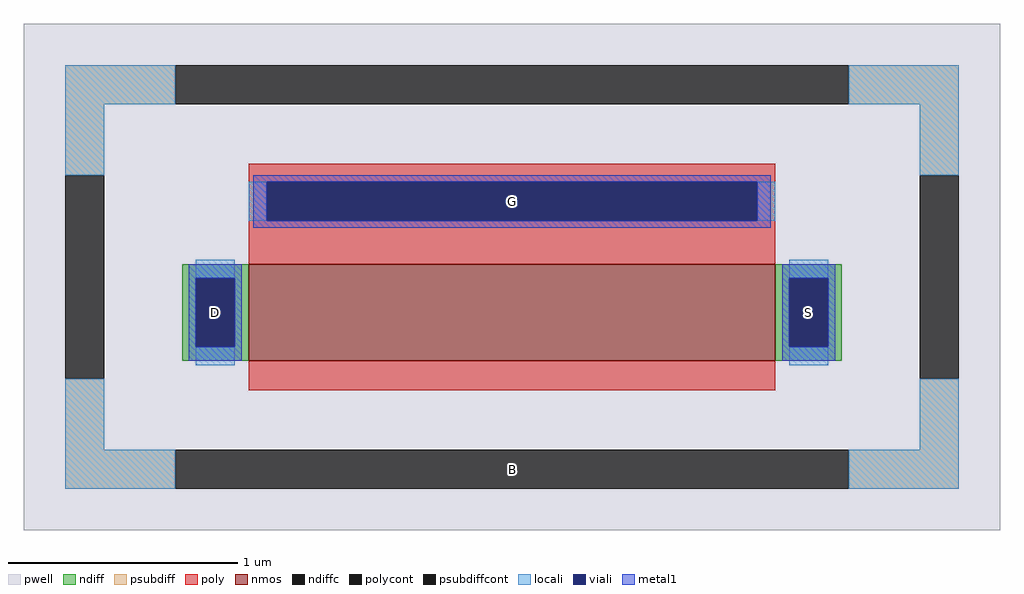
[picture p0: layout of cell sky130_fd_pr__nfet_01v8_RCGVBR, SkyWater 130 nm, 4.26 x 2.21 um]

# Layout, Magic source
magic
tech sky130A
magscale 1 2
<< pwell >>
rect -426 -221 426 221
<< nmos >>
rect -230 -73 230 11
<< ndiff >>
rect -288 -1 -230 11
rect -288 -61 -276 -1
rect -242 -61 -230 -1
rect -288 -73 -230 -61
rect 230 -1 288 11
rect 230 -61 242 -1
rect 276 -61 288 -1
rect 230 -73 288 -61
<< ndiffc >>
rect -276 -61 -242 -1
rect 242 -61 276 -1
<< psubdiff >>
rect -390 151 -294 185
rect 294 151 390 185
rect -390 89 -356 151
rect 356 89 390 151
rect -390 -151 -356 -89
rect 356 -151 390 -89
rect -390 -185 -294 -151
rect 294 -185 390 -151
<< psubdiffcont >>
rect -294 151 294 185
rect -390 -89 -356 89
rect 356 -89 390 89
rect -294 -185 294 -151
<< poly >>
rect -230 83 230 99
rect -230 49 -214 83
rect 214 49 230 83
rect -230 11 230 49
rect -230 -99 230 -73
<< polycont >>
rect -214 49 214 83
<< locali >>
rect -390 151 -294 185
rect 294 151 390 185
rect -390 89 -356 151
rect 356 89 390 151
rect -230 49 -214 83
rect 214 49 230 83
rect -276 -1 -242 15
rect -276 -77 -242 -61
rect 242 -1 276 15
rect 242 -77 276 -61
rect -390 -151 -356 -89
rect 356 -151 390 -89
rect -390 -185 -294 -151
rect 294 -185 390 -151
<< viali >>
rect -214 49 214 83
rect -276 -61 -242 -1
rect 242 -61 276 -1
<< metal1 >>
rect -226 83 226 89
rect -226 49 -214 83
rect 214 49 226 83
rect -226 43 226 49
rect -282 -1 -236 11
rect -282 -61 -276 -1
rect -242 -61 -236 -1
rect -282 -73 -236 -61
rect 236 -1 282 11
rect 236 -61 242 -1
rect 276 -61 282 -1
rect 236 -73 282 -61
<< labels >>
rlabel psubdiffcont 0 -168 0 -168 0 B
port 1 nsew
rlabel ndiffc -259 -31 -259 -31 0 D
port 2 nsew
rlabel ndiffc 259 -31 259 -31 0 S
port 3 nsew
rlabel polycont 0 66 0 66 0 G
port 4 nsew
<< properties >>
string FIXED_BBOX -373 -168 373 168
string gencell sky130_fd_pr__nfet_01v8
string library sky130
string parameters w 0.42 l 2.3 m 1 nf 1 diffcov 100 polycov 100 guard 1 glc 1 grc 1 gtc 1 gbc 1 tbcov 100 rlcov 100 topc 1 botc 0 poverlap 0 doverlap 1 lmin 0.15 wmin 0.42 class mosfet compatible {sky130_fd_pr__nfet_01v8 sky130_fd_pr__nfet_01v8_lvt  sky130_fd_bs_flash__special_sonosfet_star  sky130_fd_pr__nfet_g5v0d10v5 sky130_fd_pr__nfet_05v0_nvt  sky130_fd_pr__nfet_03v3_nvt} full_metal 1 conn_gates 0 viasrc 100 viadrn 100 viagate 100 viagb 0 viagr 0 viagl 0 viagt 0 doports 1
<< end >>
